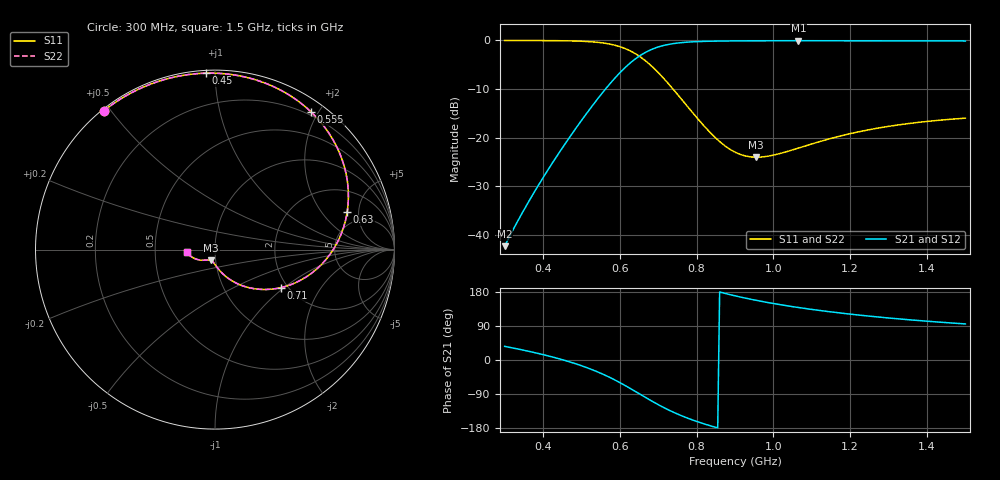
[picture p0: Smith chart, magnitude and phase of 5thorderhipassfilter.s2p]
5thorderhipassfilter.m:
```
% script matrix1

% 100MHz - 5GHz
sweeppoints = 300e+6:5e+6:1.5e+9;

% port impedance
Z0 = 50 + 0j;

% common functions
addpath("../RFlib")

L1 = 11e-9;
L2 = 5e-9;
C = 3.3e-12;

ts = sweep2ts(sweeppoints);

for fp = 1:length(sweeppoints)
    f = sweeppoints(fp);


    % 5th order lowpass filter with fc around 600MHz
    % for Nano-VNA 

    M = ShuntImpedanceMatrix(InductorImpedance(L1, f) + 0.2);
    M = M * SeriesImpedanceMatrix(CapacitorImpedance(C, f) + 0.2);
    M = M * ShuntImpedanceMatrix(InductorImpedance(L2, f) + 0.2);
    M = M * SeriesImpedanceMatrix(CapacitorImpedance(C, f) + 0.2);
    M = M * ShuntImpedanceMatrix(InductorImpedance(L1, f) + 0.2);

    ts.points(fp).S = abcd2s(M, Z0);

end

plot2ports(ts, 72);

pause();

touchstonewrite([mfilename() '.s2p'], ts);
```
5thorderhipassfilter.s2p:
! https://github.com/szoftveres
# Hz S RI R 50
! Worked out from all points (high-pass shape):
!   241 points, 300 MHz to 1.5 GHz, reference 50 ohm
!   highest |S21| = -0.13 dB at 1.065 GHz (marker M1); lowest = -42.3 dB at 300 MHz (marker M2)
!   |S21| within 3 dB of the highest: 653.7 MHz to end of sweep
!   lowest |S11| = -24.0 dB at 955 MHz (marker M3), VSWR 1.13, Z = 47.6 - j5.65 ohm
!   |S11| at or under -10 dB: 738.1 MHz to end of sweep
!   |S22| runs from -24.0 to -0.1 dB; largest |S21 - S12| = 0
!   S11 on the Smith chart (normalised r, x): 300 MHz: 0.01, +0.48; 450 MHz: 0.01, +0.95; 555 MHz: 0.15, +1.90; 630 MHz: 3.69, +3.69; 710 MHz: 1.83, -0.95; 1.5 GHz: 0.73, -0.02
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3e8  -0.6187 0.774  0.00622 0.00452  0.00622 0.00452  -0.6187 0.774
4.5e8  -0.052 0.983  0.0779 0.00124  0.0779 0.00124  -0.052 0.983
5.55e8  0.5344 0.7678  0.2306 -0.1738  0.2306 -0.1738  0.5344 0.7678
6.3e8  0.7363 0.2074  0.1369 -0.5791  0.1369 -0.5791  0.7363 0.2074
7.1e8  0.365 -0.2123  -0.4769 -0.73  -0.4769 -0.73  0.365 -0.2123
7.9e8  0.0766 -0.1621  -0.8932 -0.3515  -0.8932 -0.3515  0.0766 -0.1621
9e8  -0.00825 -0.0704  -0.9639 0.1808  -0.9639 0.1808  -0.00825 -0.0704
9.55e8  -0.0213 -0.0592  -0.9081 0.3769  -0.9081 0.3769  -0.0213 -0.0592
1.065e9  -0.051 -0.059  -0.7373 0.6526  -0.7373 0.6526  -0.051 -0.059
1.25e9  -0.1089 -0.0517  -0.4262 0.8855  -0.4262 0.8855  -0.1089 -0.0517
1.5e9  -0.1576 -0.0126  -0.0882 0.9752  -0.0882 0.9752  -0.1576 -0.0126
